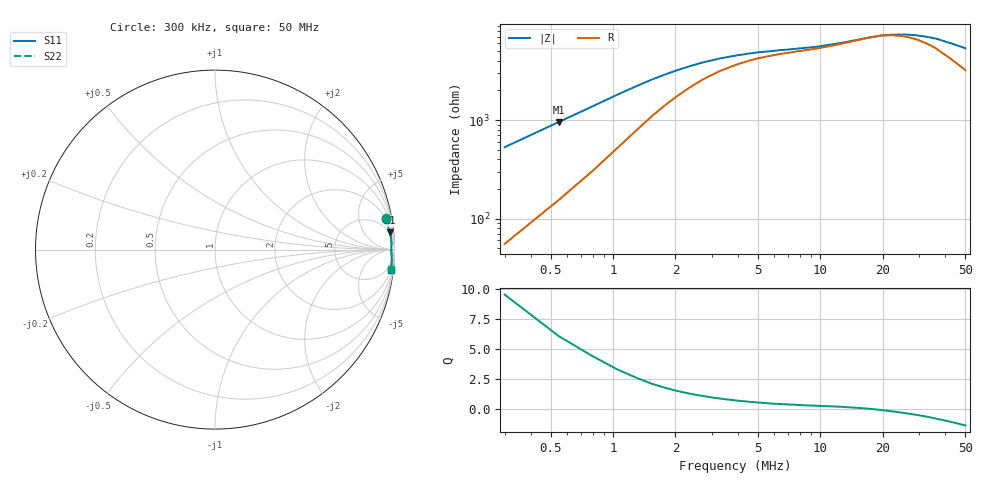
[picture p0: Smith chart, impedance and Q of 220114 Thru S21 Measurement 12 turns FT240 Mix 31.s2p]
# MHz S RI R 50
! S-Parameters data
! Freq  reS11  imS11  reS21  imS21  reS12  imS12  reS22  imS22
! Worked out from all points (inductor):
!   201 points, 300 kHz to 50 MHz, reference 50 ohm
!   read as one part in series: L = 268 uH near 548.5 kHz
!   highest Q = 6.08 at 548.5 kHz (marker M1), where L = 273 uH
!   self-resonance near 18.39 MHz
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0.3  0.9509 0.173  0.0513 -0.1751  0.0509 -0.1746  0.95 0.1734
0.5485  0.9741 0.0969  0.0266 -0.099  0.0264 -0.0987  0.9739 0.0974
0.797  0.9804 0.066  0.0204 -0.0683  0.0203 -0.068  0.9797 0.0662
1.0455  0.9824 0.0485  0.0183 -0.0514  0.0182 -0.0514  0.9821 0.0491
1.294  0.9833 0.0377  0.0175 -0.0411  0.0174 -0.041  0.983 0.0378
1.5425  0.9832 0.0298  0.0173 -0.034  0.0172 -0.034  0.9835 0.0308
2.0395  0.9833 0.0205  0.0173 -0.0253  0.0173 -0.0252  0.9826 0.0204
2.288  0.9831 0.0171  0.0174 -0.0225  0.0173 -0.0224  0.9825 0.0175
2.785  0.9828 0.0119  0.0174 -0.0182  0.0174 -0.0182  0.9822 0.0123
3.282  0.9826 0.00803  0.0175 -0.0153  0.0175 -0.0154  0.9825 0.00894
3.779  0.9826 0.00525  0.0176 -0.0133  0.0175 -0.0132  0.9821 0.00583
5.0215  0.9824 -0.000549  0.0176 -0.00991  0.0176 -0.00996  0.982 0.000214
6.761  0.9821 -0.0062  0.0175 -0.00742  0.0174 -0.00744  0.9817 -0.00516
8.749  0.9823 -0.0115  0.0171 -0.00577  0.0171 -0.00585  0.9822 -0.00998
16.9495  0.9843 -0.0319  0.0143 -0.00124  0.0143 -0.00128  0.9841 -0.0292
19.683  0.9846 -0.0385  0.0136 0.000303  0.0136 0.000304  0.9845 -0.0356
25.15  0.9848 -0.0521  0.013 0.00317  0.013 0.00312  0.985 -0.0482
28.8775  0.9847 -0.0614  0.0127 0.00482  0.0126 0.00492  0.9848 -0.0568
33.599  0.9841 -0.0734  0.0124 0.00693  0.0125 0.00699  0.9842 -0.0679
36.581  0.9836 -0.0807  0.0123 0.00825  0.0122 0.0083  0.9837 -0.0749
41.7995  0.9825 -0.0936  0.0124 0.0104  0.0124 0.0104  0.983 -0.0872
50  0.9799 -0.1147  0.0126 0.0134  0.0126 0.0134  0.981 -0.107
